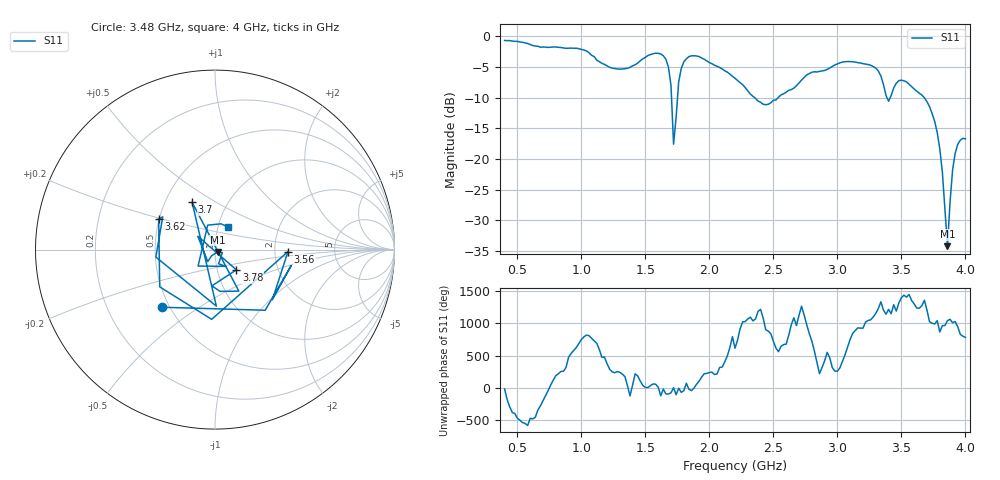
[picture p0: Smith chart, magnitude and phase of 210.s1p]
!Created with skrf (http://scikit-rf.org).
# Hz S RI R 50.0
!freq ReS11 ImS11
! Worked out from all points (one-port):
!   181 points, 400 MHz to 4 GHz, reference 50 ohm
!   lowest |S11| = -34.2 dB at 3.86 GHz (marker M1), VSWR 1.04, Z = 51.4 - j1.37 ohm
!   |S11| at or under -10 dB: 1.704 GHz to 1.751 GHz (47.01 MHz wide, 2.72 % of centre); 2.353 GHz to 2.537 GHz (183.3 MHz wide, 7.5 % of centre); 3.679 GHz to end of sweep (the widest 3 of 4)
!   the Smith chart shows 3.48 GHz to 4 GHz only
!   S11 on the Smith chart (normalised r, x): 3.48 GHz: 0.46, -0.36; 3.56 GHz: 2.37, -0.06; 3.62 GHz: 0.50, +0.19; 3.7 GHz: 0.68, +0.39; 3.78 GHz: 1.23, -0.29; 4 GHz: 1.12, +0.29
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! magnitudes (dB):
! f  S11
! 400 MHz  -0.7
! 860 MHz  -1.9
! 1.3 GHz  -5.4
! 1.58 GHz  -2.7
! 1.66 GHz  -3.7
! 1.7 GHz  -8.0
! 1.72 GHz  -17.6
! 1.76 GHz  -7.4
! 1.8 GHz  -4.2
! 1.86 GHz  -3.2
! 2.2 GHz  -6.8
! 2.44 GHz  -11.2
! 2.66 GHz  -8.4
! 2.8 GHz  -5.9
! 3.1 GHz  -4.1
! 3.3 GHz  -5.2
! 3.4 GHz  -10.6
! 3.48 GHz  -7.2
! 3.56 GHz  -7.8
! 3.62 GHz  -8.9
! 3.7 GHz  -10.7
! 3.78 GHz  -15.7
! 3.82 GHz  -22.1
! 3.86 GHz  -34.2
! 3.9 GHz  -21.8
! 3.92 GHz  -19.1
! 3.96 GHz  -16.9
! 4 GHz  -16.7
